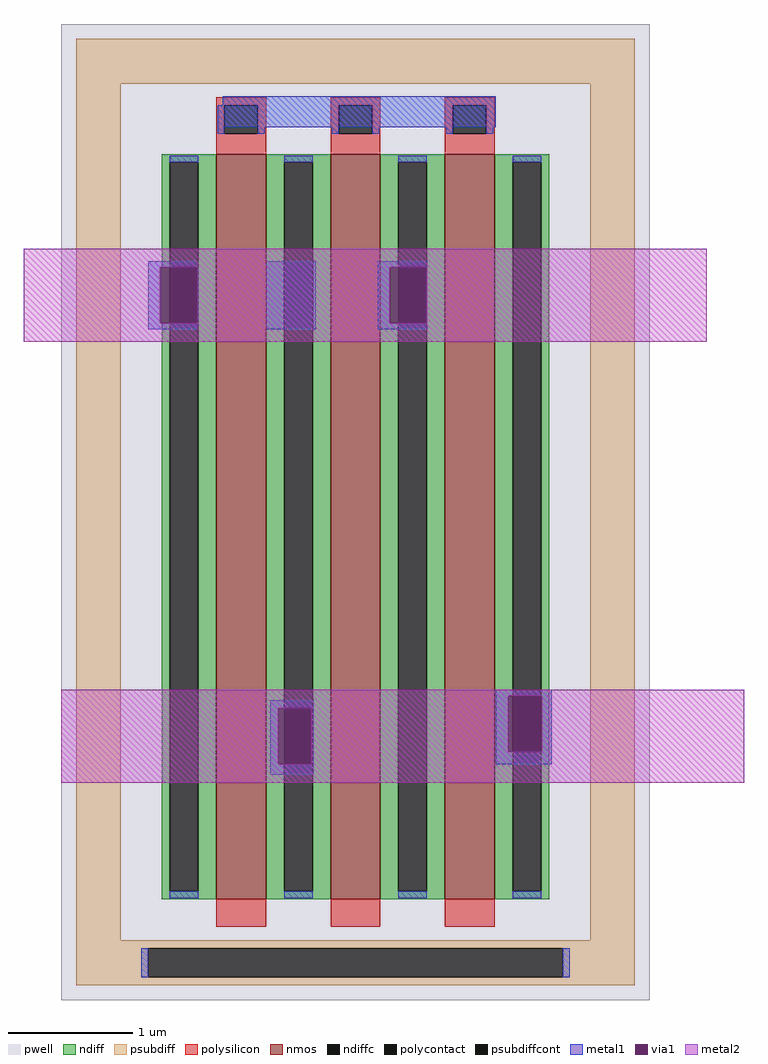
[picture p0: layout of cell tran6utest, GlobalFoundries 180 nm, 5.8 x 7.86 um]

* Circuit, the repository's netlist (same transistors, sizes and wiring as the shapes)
* NGSPICE file created from tran6utest.ext - technology: gf180mcuD

.subckt nfet_03v3_QDTW5R a_224_n624# a_40_n624# a_n224_n668# a_n40_n668# a_n144_n624#
+ a_n312_n624# a_n450_n762# a_144_n668#
X0 a_n144_n624# a_n224_n668# a_n312_n624# a_n450_n762# nfet_03v3 ad=1.56p pd=6.52u as=2.64p ps=12.88u w=6u l=0.4u
X1 a_40_n624# a_n40_n668# a_n144_n624# a_n450_n762# nfet_03v3 ad=1.56p pd=6.52u as=1.56p ps=6.52u w=6u l=0.4u
X2 a_224_n624# a_144_n668# a_40_n624# a_n450_n762# nfet_03v3 ad=2.64p pd=12.88u as=1.56p ps=6.52u w=6u l=0.4u
.ends

.subckt tran6utest
XXM1 m1_277_303# m1_80_1020# m1_200_1346# m1_200_1346# m1_277_303# m1_80_1020# VSUBS
+ m1_200_1346# nfet_03v3_QDTW5R
.ends

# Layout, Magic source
magic
tech gf180mcuD
magscale 1 10
<< metal1 >>
rect 200 1346 640 1396
rect 80 1120 160 1130
rect 80 1030 100 1120
rect 80 1020 160 1030
rect 270 1020 350 1130
rect 450 1120 530 1130
rect 450 1030 469 1120
rect 529 1030 530 1120
rect 450 1020 530 1030
rect 640 430 730 440
rect 277 410 347 423
rect 277 320 290 410
rect 343 320 347 410
rect 640 340 660 430
rect 714 340 730 430
rect 640 320 730 340
rect 277 303 347 320
<< via1 >>
rect 100 1030 160 1120
rect 469 1030 529 1120
rect 290 320 343 410
rect 660 340 714 430
<< metal2 >>
rect -120 1120 980 1150
rect -120 1030 100 1120
rect 160 1030 469 1120
rect 529 1030 980 1120
rect -120 1000 980 1030
rect -60 430 1040 440
rect -60 410 660 430
rect -60 320 290 410
rect 343 340 660 410
rect 714 340 1040 430
rect 343 320 1040 340
rect -60 290 1040 320
use nfet_03v3_QDTW5R  XM1
transform 1 0 414 0 1 726
box -474 -786 474 786
<< end >>

# cell nfet_03v3_QDTW5R: kit device nfet_03v3, w 6.0 l 0.4 m 1 nf 3 diffcov 100 polycov 100 guard 1 glc 0 grc 0 gtc 0 gbc 1 tbcov 100 rlcov 100 topc 1 botc 0 poverlap 0 doverlap 1 lmin 0.28 wmin 0.22 class mosfet full_metal 0 compatible {nfet_03v3 nfet_06v0 nfet_06v0_nvt}
